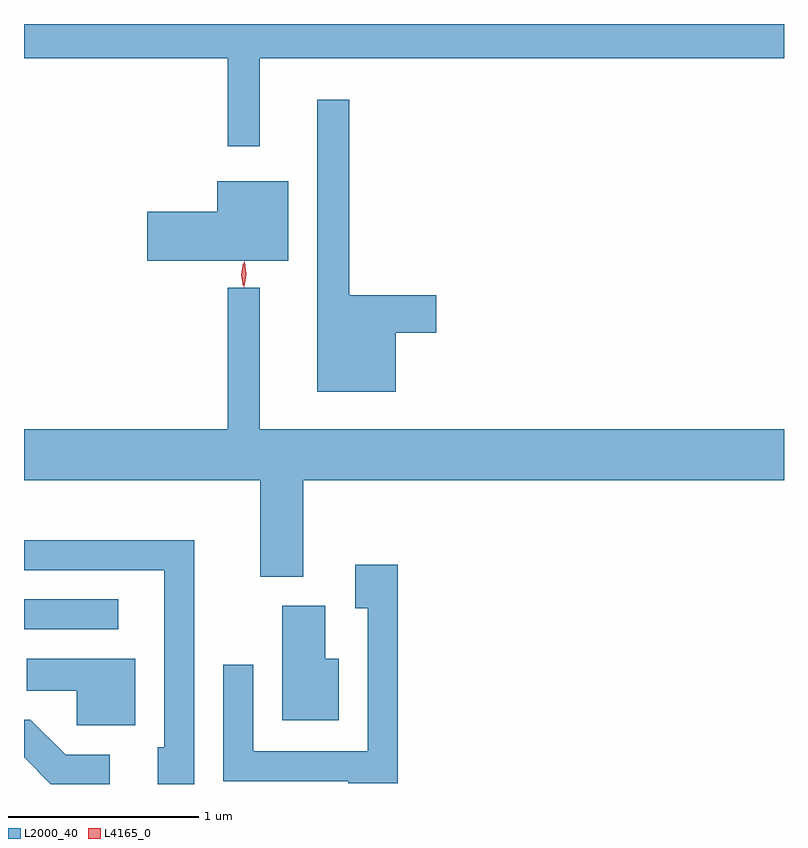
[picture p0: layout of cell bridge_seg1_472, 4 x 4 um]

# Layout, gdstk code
import gdstk
lib = gdstk.Library(unit=1e-6, precision=1e-09)
def R(c, l, rs):  # rectangles x0, y0, x1, y1
    for r in rs: c.add(gdstk.rectangle(r[:2], r[2:], *l))
def P(c, l, *ps):  # polygons
    for p in ps: c.add(gdstk.Polygon(p, *l))
L2000_40 = (2000, 40)
L4165_0 = (4165, 0)

bridge_seg1_472 = lib.new_cell('bridge_seg1_472')
R(bridge_seg1_472, L2000_40, [(510.278,847.731,510.773,847.889)])
P(bridge_seg1_472, L2000_40, [(511.519,850.736),(514.278,850.736),(514.278,850.916),(510.278,850.916),(510.278,850.736),(511.351,850.736),(511.351,850.273),(511.519,850.273)],
  [(512.234,849.291),(512.449,849.291),(512.449,849.489),(511.989,849.489),(511.989,850.518),(511.821,850.518),(511.821,848.981),(512.234,848.981)],
  [(511.669,850.089),(511.296,850.089),(511.296,849.929),(510.926,849.929),(510.926,849.671),(511.669,849.671)],
  [(511.749,848.516),(514.278,848.516),(514.278,848.784),(511.519,848.784),(511.519,849.528),(511.351,849.528),(511.351,848.784),(510.278,848.784),(510.278,848.516),(511.521,848.516),(511.521,848.006),(511.749,848.006)],
  [(511.174,848.199),(510.278,848.199),(510.278,848.041),(511.016,848.041),(511.016,847.109),(510.981,847.109),(510.981,846.916),(511.174,846.916)],
  [(512.244,848.069),(512.021,848.069),(512.021,847.841),(512.086,847.841),(512.086,847.089),(511.484,847.089),(511.484,847.543),(511.326,847.543),(511.326,846.931),(511.985,846.931),(511.985,846.921),(512.244,846.921)],
  [(511.934,847.574),(511.864,847.574),(511.864,847.854),(511.636,847.854),(511.636,847.251),(511.934,847.251)],
  [(510.864,847.574),(510.293,847.574),(510.293,847.406),(510.556,847.406),(510.556,847.226),(510.864,847.226)],
  [(510.728,847.069),(510.497,847.069),(510.312,847.254),(510.278,847.254),(510.278,847.057),(510.419,846.916),(510.728,846.916)])
P(bridge_seg1_472, L4165_0, [(511.432,849.533),(511.432,849.533),(511.422,849.596),(511.432,849.659),(511.432,849.66),(511.433,849.659),(511.442,849.596),(511.433,849.533)],
  [(511.437,849.53),(511.437,849.53),(511.428,849.598),(511.438,849.666),(511.439,849.666),(511.439,849.666),(511.448,849.598),(511.438,849.53)])

lib.write_gds('bridge_seg1_472.gds')
